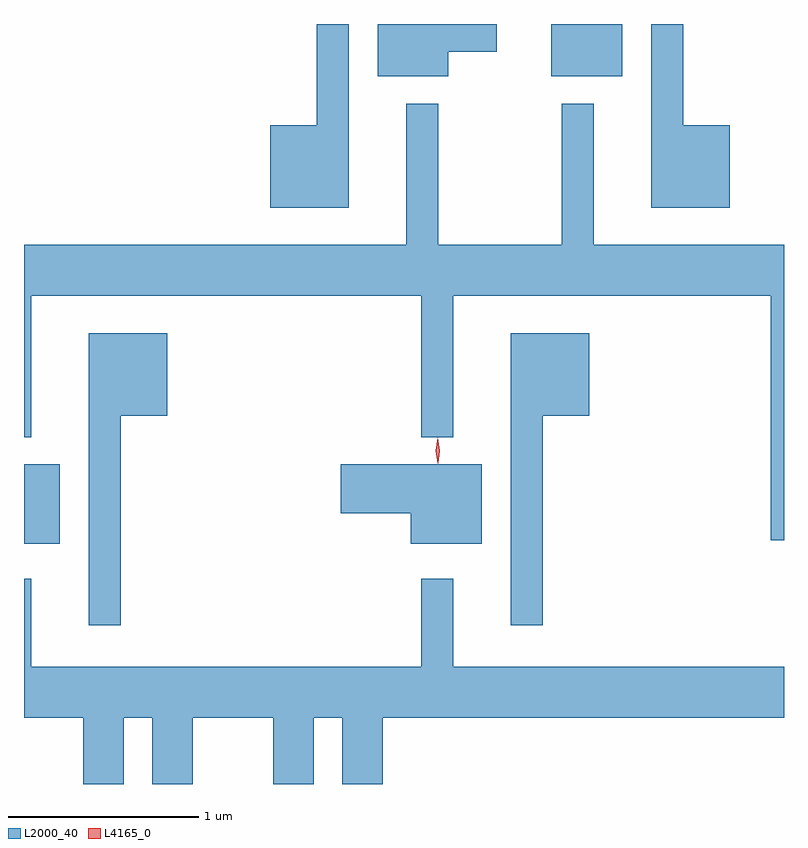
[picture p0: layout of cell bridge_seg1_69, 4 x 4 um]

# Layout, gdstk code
import gdstk
lib = gdstk.Library(unit=1e-6, precision=1e-09)
def R(c, l, rs):  # rectangles x0, y0, x1, y1
    for r in rs: c.add(gdstk.rectangle(r[:2], r[2:], *l))
def P(c, l, *ps):  # polygons
    for p in ps: c.add(gdstk.Polygon(p, *l))
L2000_40 = (2000, 40)
L4165_0 = (4165, 0)

bridge_seg1_69 = lib.new_cell('bridge_seg1_69')
R(bridge_seg1_69, L2000_40, [(1906.75,882.731,1906.939,883.149), (1909.526,885.191,1909.899,885.467)])
P(bridge_seg1_69, L2000_40, [(1910.464,884.934),(1910.219,884.934),(1910.219,885.467),(1910.051,885.467),(1910.051,884.501),(1910.464,884.501)],
  [(1908.459,885.467),(1908.291,885.467),(1908.291,884.934),(1908.046,884.934),(1908.046,884.501),(1908.459,884.501)],
  [(1908.984,885.321),(1909.239,885.321),(1909.239,885.467),(1908.611,885.467),(1908.611,885.191),(1908.984,885.191)],
  [(1910.75,884.304),(1909.749,884.304),(1909.749,885.048),(1909.581,885.048),(1909.581,884.304),(1908.929,884.304),(1908.929,885.048),(1908.761,885.048),(1908.761,884.304),(1906.75,884.304),(1906.75,883.293),(1906.789,883.293),(1906.789,884.036),(1908.841,884.036),(1908.841,883.293),(1909.009,883.293),(1909.009,884.036),(1910.681,884.036),(1910.681,882.751),(1910.75,882.751)],
  [(1907.259,883.406),(1907.504,883.406),(1907.504,883.839),(1907.091,883.839),(1907.091,882.303),(1907.259,882.303)],
  [(1909.479,883.406),(1909.724,883.406),(1909.724,883.839),(1909.311,883.839),(1909.311,882.303),(1909.479,882.303)],
  [(1909.159,883.149),(1908.416,883.149),(1908.416,882.891),(1908.786,882.891),(1908.786,882.731),(1909.159,882.731)],
  [(1907.274,881.816),(1907.426,881.816),(1907.426,881.467),(1907.639,881.467),(1907.639,881.816),(1908.061,881.816),(1908.061,881.467),(1908.274,881.467),(1908.274,881.816),(1908.426,881.816),(1908.426,881.467),(1908.639,881.467),(1908.639,881.816),(1910.75,881.816),(1910.75,882.084),(1909.009,882.084),(1909.009,882.548),(1908.841,882.548),(1908.841,882.084),(1906.789,882.084),(1906.789,882.548),(1906.75,882.548),(1906.75,881.816),(1907.061,881.816),(1907.061,881.467),(1907.274,881.467)])
P(bridge_seg1_69, L4165_0, [(1908.928,883.154),(1908.918,883.222),(1908.927,883.29),(1908.928,883.29),(1908.928,883.29),(1908.938,883.222),(1908.929,883.154),(1908.929,883.154)],
  [(1908.929,883.16),(1908.929,883.161),(1908.919,883.224),(1908.927,883.286),(1908.928,883.287),(1908.928,883.286),(1908.938,883.224),(1908.93,883.161)])

lib.write_gds('bridge_seg1_69.gds')
